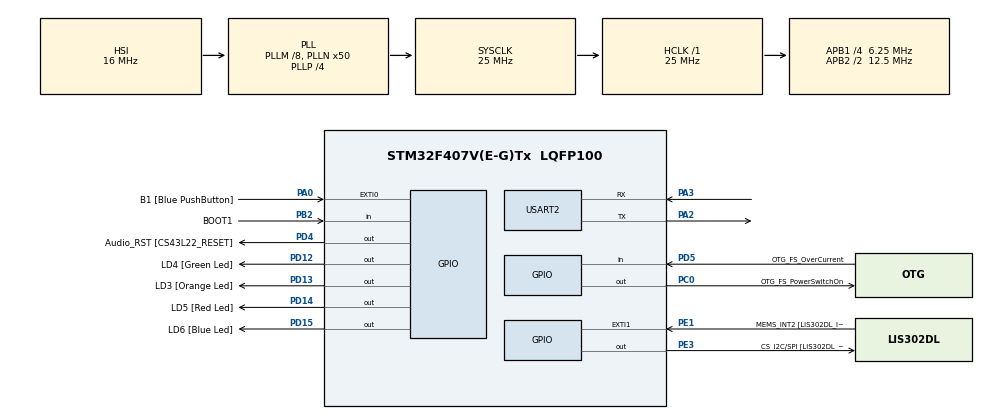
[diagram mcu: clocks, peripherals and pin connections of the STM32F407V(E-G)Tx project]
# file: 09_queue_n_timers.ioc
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Mcu.Family=STM32F4
Mcu.Name=STM32F407V(E-G)Tx
Mcu.Package=LQFP100
NVIC.PriorityGroup=NVIC_PRIORITYGROUP_4
NVIC.TIM6_DAC_IRQn=true\:0\:0\:false\:false\:true\:false\:true\:true
NVIC.TimeBase=TIM6_DAC_IRQn
NVIC.TimeBaseIP=TIM6
NVIC.USART2_IRQn=true\:6\:0\:true\:false\:true\:true\:true\:true
PA0-WKUP.GPIO_Label=B1 [Blue PushButton]
PA0-WKUP.Signal=GPXTI0
PA10.GPIO_Label=OTG_FS_ID
PA10.GPIO_Mode=GPIO_MODE_AF_PP
PA10.GPIO_PuPd=GPIO_NOPULL
PA10.GPIO_Speed=GPIO_SPEED_FREQ_LOW
PA10.Signal=USB_OTG_FS_ID
PA11.GPIO_Label=OTG_FS_DM
PA11.GPIO_Mode=GPIO_MODE_AF_PP
PA11.GPIO_PuPd=GPIO_NOPULL
PA11.GPIO_Speed=GPIO_SPEED_FREQ_LOW
PA11.Signal=USB_OTG_FS_DM
PA12.GPIO_Label=OTG_FS_DP
PA12.GPIO_Mode=GPIO_MODE_AF_PP
PA12.GPIO_PuPd=GPIO_NOPULL
PA12.GPIO_Speed=GPIO_SPEED_FREQ_LOW
PA12.Signal=USB_OTG_FS_DP
PA13.GPIO_Label=SWDIO
PA13.Signal=SYS_JTMS-SWDIO
PA14.GPIO_Label=SWCLK
PA14.Signal=SYS_JTCK-SWCLK
PA2.Mode=Asynchronous
PA2.Signal=USART2_TX
PA3.Mode=Asynchronous
PA3.Signal=USART2_RX
PA4.GPIO_Label=I2S3_WS [CS43L22_LRCK]
PA4.GPIO_Mode=GPIO_MODE_AF_PP
PA4.GPIO_PuPd=GPIO_NOPULL
PA4.GPIO_Speed=GPIO_SPEED_FREQ_LOW
PA4.Signal=I2S3_WS
PA5.GPIO_Label=SPI1_SCK [LIS302DL_SCL/SPC]
PA5.GPIO_Mode=GPIO_MODE_AF_PP
PA5.GPIO_PuPd=GPIO_NOPULL
PA5.GPIO_Speed=GPIO_SPEED_FREQ_LOW
PA5.Signal=SPI1_SCK
PA6.GPIO_Label=SPI1_MISO [LIS302DL_SDO]
PA6.GPIO_Mode=GPIO_MODE_AF_PP
PA6.GPIO_PuPd=GPIO_NOPULL
PA6.GPIO_Speed=GPIO_SPEED_FREQ_LOW
PA6.Signal=SPI1_MISO
PA7.GPIO_Label=SPI1_MOSI [LIS302DL_SDA/SDI/SDO]
PA7.GPIO_Mode=GPIO_MODE_AF_PP
PA7.GPIO_PuPd=GPIO_NOPULL
PA7.GPIO_Speed=GPIO_SPEED_FREQ_LOW
PA7.Signal=SPI1_MOSI
PA9.GPIO_Label=VBUS_FS
PA9.GPIO_Mode=GPIO_MODE_INPUT
PA9.GPIO_PuPd=GPIO_NOPULL
PA9.Signal=USB_OTG_FS_VBUS
PB10.GPIO_Label=CLK_IN [MP45DT02_CLK]
PB10.GPIO_Mode=GPIO_MODE_AF_PP
PB10.GPIO_PuPd=GPIO_NOPULL
PB10.GPIO_Speed=GPIO_SPEED_FREQ_LOW
PB10.Signal=I2S2_CK
PB2.GPIO_Label=BOOT1
PB2.GPIO_Mode=GPIO_MODE_INPUT
PB2.GPIO_PuPd=GPIO_NOPULL
PB2.Signal=GPIO_Input
PB3.GPIO_Label=SWO
PB3.Signal=SYS_JTDO-SWO
PB6.GPIO_Label=Audio_SCL [CS43L22_SCL]
PB6.GPIO_Mode=GPIO_MODE_AF_OD
PB6.GPIO_PuPd=GPIO_NOPULL
PB6.GPIO_Speed=GPIO_SPEED_FREQ_LOW
PB6.Signal=I2C1_SCL
PB9.GPIO_Label=Audio_SDA [CS43L22_SDA]
PB9.GPIO_Mode=GPIO_MODE_AF_OD
PB9.GPIO_PuPd=GPIO_NOPULL
PB9.GPIO_Speed=GPIO_SPEED_FREQ_LOW
PB9.Signal=I2C1_SDA
PC0.GPIO_Label=OTG_FS_PowerSwitchOn
PC0.GPIO_PuPd=GPIO_NOPULL
PC0.GPIO_Speed=GPIO_SPEED_FREQ_LOW
PC0.PinState=GPIO_PIN_SET
PC0.Signal=GPIO_Output
PC10.GPIO_Label=I2S3_SCK [CS43L22_SCLK]
PC10.GPIO_Mode=GPIO_MODE_AF_PP
PC10.GPIO_PuPd=GPIO_NOPULL
PC10.GPIO_Speed=GPIO_SPEED_FREQ_LOW
PC10.Signal=I2S3_CK
PC12.GPIO_Label=I2S3_SD [CS43L22_SDIN]
PC12.GPIO_Mode=GPIO_MODE_AF_PP
PC12.GPIO_PuPd=GPIO_NOPULL
PC12.GPIO_Speed=GPIO_SPEED_FREQ_LOW
PC12.Signal=I2S3_SD
PC14-OSC32_IN.GPIO_Label=PC14-OSC32_IN
PC14-OSC32_IN.Signal=RCC_OSC32_IN
PC15-OSC32_OUT.GPIO_Label=PC15-OSC32_OUT
PC15-OSC32_OUT.Signal=RCC_OSC32_OUT
PC3.GPIO_Label=PDM_OUT [MP45DT02_DOUT]
PC3.GPIO_Mode=GPIO_MODE_AF_PP
PC3.GPIO_PuPd=GPIO_NOPULL
PC3.GPIO_Speed=GPIO_SPEED_FREQ_LOW
PC3.Signal=I2S2_SD
PC7.GPIO_Label=I2S3_MCK [CS43L22_MCLK]
PC7.GPIO_Mode=GPIO_MODE_AF_PP
PC7.GPIO_PuPd=GPIO_NOPULL
PC7.GPIO_Speed=GPIO_SPEED_FREQ_LOW
PC7.Signal=I2S3_MCK
PD12.GPIO_Label=LD4 [Green Led]
PD12.GPIO_PuPd=GPIO_NOPULL
PD12.GPIO_Speed=GPIO_SPEED_FREQ_LOW
PD12.Signal=GPIO_Output
PD13.GPIO_Label=LD3 [Orange Led]
PD13.GPIO_PuPd=GPIO_NOPULL
PD13.GPIO_Speed=GPIO_SPEED_FREQ_LOW
PD13.Signal=GPIO_Output
PD14.GPIO_Label=LD5 [Red Led]
PD14.GPIO_PuPd=GPIO_NOPULL
PD14.GPIO_Speed=GPIO_SPEED_FREQ_LOW
PD14.Signal=GPIO_Output
PD15.GPIO_Label=LD6 [Blue Led]
PD15.GPIO_PuPd=GPIO_NOPULL
PD15.GPIO_Speed=GPIO_SPEED_FREQ_LOW
PD15.Signal=GPIO_Output
PD4.GPIO_Label=Audio_RST [CS43L22_RESET]
PD4.GPIO_PuPd=GPIO_NOPULL
PD4.GPIO_Speed=GPIO_SPEED_FREQ_LOW
PD4.Signal=GPIO_Output
PD5.GPIO_Label=OTG_FS_OverCurrent
PD5.GPIO_Mode=GPIO_MODE_INPUT
PD5.GPIO_PuPd=GPIO_NOPULL
PD5.Signal=GPIO_Input
PE1.GPIO_Label=MEMS_INT2 [LIS302DL_INT2]
PE1.GPIO_ModeDefaultEXTI=GPIO_MODE_EVT_RISING
PE1.GPIO_PuPd=GPIO_NOPULL
PE1.Signal=GPXTI1
PE3.GPIO_Label=CS_I2C/SPI [LIS302DL_CS_I2C/SPI]
PE3.GPIO_PuPd=GPIO_NOPULL
PE3.GPIO_Speed=GPIO_SPEED_FREQ_LOW
PE3.Signal=GPIO_Output
PH0-OSC_IN.GPIO_Label=PH0-OSC_IN
PH0-OSC_IN.Signal=RCC_OSC_IN
PH1-OSC_OUT.GPIO_Label=PH1-OSC_OUT
PH1-OSC_OUT.Signal=RCC_OSC_OUT
ProjectManager.HeapSize=0x200
ProjectManager.StackSize=0x400
ProjectManager.TargetToolchain=STM32CubeIDE
RCC.48MHZClocksFreq_Value=14285714.285714285
RCC.AHBFreq_Value=25000000
RCC.APB1CLKDivider=RCC_HCLK_DIV4
RCC.APB1Freq_Value=6250000
RCC.APB1TimFreq_Value=12500000
RCC.APB2CLKDivider=RCC_HCLK_DIV2
RCC.APB2Freq_Value=12500000
RCC.APB2TimFreq_Value=25000000
RCC.CortexFreq_Value=25000000
RCC.HCLKFreq_Value=25000000
RCC.HSE_VALUE=8000000
RCC.HSI_VALUE=16000000
RCC.LSE_VALUE=32768
RCC.PLLM=8
RCC.PLLN=50
RCC.PLLP=RCC_PLLP_DIV4
RCC.PLLQ=7
RCC.SYSCLKFreq_VALUE=25000000
RCC.SYSCLKSource=RCC_SYSCLKSOURCE_PLLCLK
RCC.VCOOutputFreq_Value=100000000
RTC.HourFormat=RTC_HOURFORMAT_12
USART2.VirtualMode=VM_ASYNC
VP_RTC_VS_RTC_Activate.Mode=RTC_Enabled
VP_SYS_VS_tim6.Mode=TIM6
board=STM32F407G-DISC1

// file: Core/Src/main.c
/* USER CODE BEGIN Header */
/**
  ******************************************************************************
  * @file           : main.c
  * @brief          : Main program body
  ******************************************************************************
  * @attention
  *
  * Copyright (c) 2024 STMicroelectronics.
  * All rights reserved.
  *
  * This software is licensed under terms that can be found in the LICENSE file
  * in the root directory of this software component.
  * If no LICENSE file comes with this software, it is provided AS-IS.
  *
  ******************************************************************************
  */
/* USER CODE END Header */
#include "main.h"

RTC_HandleTypeDef hrtc;

UART_HandleTypeDef huart2;

/* USER CODE BEGIN PV */
xTaskHandle handle_cmd_task;
xTaskHandle handle_menu_task;
xTaskHandle handle_print_task;
xTaskHandle handle_led_task;
xTaskHandle handle_rtc_task;

QueueHandle_t q_data;
QueueHandle_t q_print;

// Software timer handle
TimerHandle_t handle_led_timer[4];
TimerHandle_t rtc_timer;

volatile uint8_t user_data;

state_t curr_state = sMainMenu;
/* USER CODE END PV */

void SystemClock_Config(void);
static void MX_GPIO_Init(void);
static void MX_RTC_Init(void);
static void MX_USART2_UART_Init(void);
/* USER CODE BEGIN PFP */

void led_effect_callback(TimerHandle_t xTimer);
void rtc_report_callback(TimerHandle_t xTimer);

/* USER CODE END PFP */

int main(void)
{
  /* USER CODE BEGIN 1 */
  BaseType_t status;
  /* USER CODE END 1 */

  /* MCU Configuration--------------------------------------------------------*/

  /* Reset of all peripherals, Initializes the Flash interface and the Systick. */
  HAL_Init();

  /* Configure the system clock */
  SystemClock_Config();

  /* Initialize all configured peripherals */
  MX_GPIO_Init();
  MX_RTC_Init();
  MX_USART2_UART_Init();
  /* USER CODE BEGIN 2 */

  status = xTaskCreate(menu_task_handler, "menu_task", 250, NULL, 2, &handle_menu_task);
  configASSERT(status == pdPASS);

  status = xTaskCreate(cmd_task_handler, "cmd_task", 250, NULL, 2, &handle_cmd_task);
  configASSERT(status==pdPASS);

  status = xTaskCreate(print_task_handler, "print_task", 250, NULL, 2, &handle_print_task);
  configASSERT(status==pdPASS);

  status = xTaskCreate(led_task_handler, "led_task", 250, NULL, 2, &handle_led_task);
  configASSERT(status==pdPASS);

  status = xTaskCreate(rtc_task_handler, "rtc_task", 250, NULL, 2, &handle_rtc_task);
  configASSERT(status==pdPASS);

  q_data = xQueueCreate(10, sizeof(char));
  configASSERT(q_data != NULL);

  q_print = xQueueCreate(10, sizeof(size_t));
  configASSERT(q_print != NULL);

  // create software timers for LED effects
  for (int i=0; i<4; i++)
	handle_led_timer[i] = xTimerCreate("led_timer", pdMS_TO_TICKS(500), pdTRUE, (void*)(i+1), led_effect_callback);

  HAL_UART_Receive_IT(&huart2, (uint8_t*)&user_data, 1);

  vTaskStartScheduler();

  /* USER CODE END 2 */

  /* Infinite loop */
  while (1)
  {

  }
}

void SystemClock_Config(void)
{
  RCC_OscInitTypeDef RCC_OscInitStruct = {0};
  RCC_ClkInitTypeDef RCC_ClkInitStruct = {0};

  /** Configure the main internal regulator output voltage
  */
  __HAL_RCC_PWR_CLK_ENABLE();
  __HAL_PWR_VOLTAGESCALING_CONFIG(PWR_REGULATOR_VOLTAGE_SCALE1);

  /** Initializes the RCC Oscillators according to the specified parameters
  * in the RCC_OscInitTypeDef structure.
  */
  RCC_OscInitStruct.OscillatorType = RCC_OSCILLATORTYPE_HSI|RCC_OSCILLATORTYPE_LSI;
  RCC_OscInitStruct.HSIState = RCC_HSI_ON;
  RCC_OscInitStruct.HSICalibrationValue = RCC_HSICALIBRATION_DEFAULT;
  RCC_OscInitStruct.LSIState = RCC_LSI_ON;
  RCC_OscInitStruct.PLL.PLLState = RCC_PLL_ON;
  RCC_OscInitStruct.PLL.PLLSource = RCC_PLLSOURCE_HSI;
  RCC_OscInitStruct.PLL.PLLM = 8;
  RCC_OscInitStruct.PLL.PLLN = 50;
  RCC_OscInitStruct.PLL.PLLP = RCC_PLLP_DIV4;
  RCC_OscInitStruct.PLL.PLLQ = 7;
  if (HAL_RCC_OscConfig(&RCC_OscInitStruct) != HAL_OK)
  {
    Error_Handler();
  }

  /** Initializes the CPU, AHB and APB buses clocks
  */
  RCC_ClkInitStruct.ClockType = RCC_CLOCKTYPE_HCLK|RCC_CLOCKTYPE_SYSCLK
                              |RCC_CLOCKTYPE_PCLK1|RCC_CLOCKTYPE_PCLK2;
  RCC_ClkInitStruct.SYSCLKSource = RCC_SYSCLKSOURCE_PLLCLK;
  RCC_ClkInitStruct.AHBCLKDivider = RCC_SYSCLK_DIV1;
  RCC_ClkInitStruct.APB1CLKDivider = RCC_HCLK_DIV4;
  RCC_ClkInitStruct.APB2CLKDivider = RCC_HCLK_DIV2;

  if (HAL_RCC_ClockConfig(&RCC_ClkInitStruct, FLASH_LATENCY_0) != HAL_OK)
  {
    Error_Handler();
  }
}

static void MX_RTC_Init(void)
{

  /** Initialize RTC Only
  */
  hrtc.Instance = RTC;
  hrtc.Init.HourFormat = RTC_HOURFORMAT_12;
  hrtc.Init.AsynchPrediv = 127;
  hrtc.Init.SynchPrediv = 255;
  hrtc.Init.OutPut = RTC_OUTPUT_DISABLE;
  hrtc.Init.OutPutPolarity = RTC_OUTPUT_POLARITY_HIGH;
  hrtc.Init.OutPutType = RTC_OUTPUT_TYPE_OPENDRAIN;
  if (HAL_RTC_Init(&hrtc) != HAL_OK)
  {
    Error_Handler();
  }

}

static void MX_USART2_UART_Init(void)
{

  huart2.Instance = USART2;
  huart2.Init.BaudRate = 115200;
  huart2.Init.WordLength = UART_WORDLENGTH_8B;
  huart2.Init.StopBits = UART_STOPBITS_1;
  huart2.Init.Parity = UART_PARITY_NONE;
  huart2.Init.Mode = UART_MODE_TX_RX;
  huart2.Init.HwFlowCtl = UART_HWCONTROL_NONE;
  huart2.Init.OverSampling = UART_OVERSAMPLING_16;
  if (HAL_UART_Init(&huart2) != HAL_OK)
  {
    Error_Handler();
  }

}

static void MX_GPIO_Init(void)
{
  GPIO_InitTypeDef GPIO_InitStruct = {0};

  /* GPIO Ports Clock Enable */
  __HAL_RCC_GPIOE_CLK_ENABLE();
  __HAL_RCC_GPIOC_CLK_ENABLE();
  __HAL_RCC_GPIOH_CLK_ENABLE();
  __HAL_RCC_GPIOA_CLK_ENABLE();
  __HAL_RCC_GPIOB_CLK_ENABLE();
  __HAL_RCC_GPIOD_CLK_ENABLE();

  /*Configure GPIO pin Output Level */
  HAL_GPIO_WritePin(CS_I2C_SPI_GPIO_Port, CS_I2C_SPI_Pin, GPIO_PIN_RESET);

  /*Configure GPIO pin Output Level */
  HAL_GPIO_WritePin(OTG_FS_PowerSwitchOn_GPIO_Port, OTG_FS_PowerSwitchOn_Pin, GPIO_PIN_SET);

  /*Configure GPIO pin Output Level */
  HAL_GPIO_WritePin(GPIOD, LD4_Pin|LD3_Pin|LD5_Pin|LD6_Pin
                          |Audio_RST_Pin, GPIO_PIN_RESET);

  /*Configure GPIO pin : CS_I2C_SPI_Pin */
  GPIO_InitStruct.Pin = CS_I2C_SPI_Pin;
  GPIO_InitStruct.Mode = GPIO_MODE_OUTPUT_PP;
  GPIO_InitStruct.Pull = GPIO_NOPULL;
  GPIO_InitStruct.Speed = GPIO_SPEED_FREQ_LOW;
  HAL_GPIO_Init(CS_I2C_SPI_GPIO_Port, &GPIO_InitStruct);

  /*Configure GPIO pin : OTG_FS_PowerSwitchOn_Pin */
  GPIO_InitStruct.Pin = OTG_FS_PowerSwitchOn_Pin;
  GPIO_InitStruct.Mode = GPIO_MODE_OUTPUT_PP;
  GPIO_InitStruct.Pull = GPIO_NOPULL;
  GPIO_InitStruct.Speed = GPIO_SPEED_FREQ_LOW;
  HAL_GPIO_Init(OTG_FS_PowerSwitchOn_GPIO_Port, &GPIO_InitStruct);

  /*Configure GPIO pin : PDM_OUT_Pin */
  GPIO_InitStruct.Pin = PDM_OUT_Pin;
  GPIO_InitStruct.Mode = GPIO_MODE_AF_PP;
  GPIO_InitStruct.Pull = GPIO_NOPULL;
  GPIO_InitStruct.Speed = GPIO_SPEED_FREQ_LOW;
  GPIO_InitStruct.Alternate = GPIO_AF5_SPI2;
  HAL_GPIO_Init(PDM_OUT_GPIO_Port, &GPIO_InitStruct);

  /*Configure GPIO pin : B1_Pin */
  GPIO_InitStruct.Pin = B1_Pin;
  GPIO_InitStruct.Mode = GPIO_MODE_IT_RISING;
  GPIO_InitStruct.Pull = GPIO_NOPULL;
  HAL_GPIO_Init(B1_GPIO_Port, &GPIO_InitStruct);

  /*Configure GPIO pin : I2S3_WS_Pin */
  GPIO_InitStruct.Pin = I2S3_WS_Pin;
  GPIO_InitStruct.Mode = GPIO_MODE_AF_PP;
  GPIO_InitStruct.Pull = GPIO_NOPULL;
  GPIO_InitStruct.Speed = GPIO_SPEED_FREQ_LOW;
  GPIO_InitStruct.Alternate = GPIO_AF6_SPI3;
  HAL_GPIO_Init(I2S3_WS_GPIO_Port, &GPIO_InitStruct);

  /*Configure GPIO pins : SPI1_SCK_Pin SPI1_MISO_Pin SPI1_MOSI_Pin */
  GPIO_InitStruct.Pin = SPI1_SCK_Pin|SPI1_MISO_Pin|SPI1_MOSI_Pin;
  GPIO_InitStruct.Mode = GPIO_MODE_AF_PP;
  GPIO_InitStruct.Pull = GPIO_NOPULL;
  GPIO_InitStruct.Speed = GPIO_SPEED_FREQ_LOW;
  GPIO_InitStruct.Alternate = GPIO_AF5_SPI1;
  HAL_GPIO_Init(GPIOA, &GPIO_InitStruct);

  /*Configure GPIO pin : BOOT1_Pin */
  GPIO_InitStruct.Pin = BOOT1_Pin;
  GPIO_InitStruct.Mode = GPIO_MODE_INPUT;
  GPIO_InitStruct.Pull = GPIO_NOPULL;
  HAL_GPIO_Init(BOOT1_GPIO_Port, &GPIO_InitStruct);

  /*Configure GPIO pin : CLK_IN_Pin */
  GPIO_InitStruct.Pin = CLK_IN_Pin;
  GPIO_InitStruct.Mode = GPIO_MODE_AF_PP;
  GPIO_InitStruct.Pull = GPIO_NOPULL;
  GPIO_InitStruct.Speed = GPIO_SPEED_FREQ_LOW;
  GPIO_InitStruct.Alternate = GPIO_AF5_SPI2;
  HAL_GPIO_Init(CLK_IN_GPIO_Port, &GPIO_InitStruct);

  /*Configure GPIO pins : LD4_Pin LD3_Pin LD5_Pin LD6_Pin
                           Audio_RST_Pin */
  GPIO_InitStruct.Pin = LD4_Pin|LD3_Pin|LD5_Pin|LD6_Pin
                          |Audio_RST_Pin;
  GPIO_InitStruct.Mode = GPIO_MODE_OUTPUT_PP;
  GPIO_InitStruct.Pull = GPIO_NOPULL;
  GPIO_InitStruct.Speed = GPIO_SPEED_FREQ_LOW;
  HAL_GPIO_Init(GPIOD, &GPIO_InitStruct);

  /*Configure GPIO pins : I2S3_MCK_Pin I2S3_SCK_Pin I2S3_SD_Pin */
  GPIO_InitStruct.Pin = I2S3_MCK_Pin|I2S3_SCK_Pin|I2S3_SD_Pin;
  GPIO_InitStruct.Mode = GPIO_MODE_AF_PP;
  GPIO_InitStruct.Pull = GPIO_NOPULL;
  GPIO_InitStruct.Speed = GPIO_SPEED_FREQ_LOW;
  GPIO_InitStruct.Alternate = GPIO_AF6_SPI3;
  HAL_GPIO_Init(GPIOC, &GPIO_InitStruct);

  /*Configure GPIO pin : VBUS_FS_Pin */
  GPIO_InitStruct.Pin = VBUS_FS_Pin;
  GPIO_InitStruct.Mode = GPIO_MODE_INPUT;
  GPIO_InitStruct.Pull = GPIO_NOPULL;
  HAL_GPIO_Init(VBUS_FS_GPIO_Port, &GPIO_InitStruct);

  /*Configure GPIO pins : OTG_FS_ID_Pin OTG_FS_DM_Pin OTG_FS_DP_Pin */
  GPIO_InitStruct.Pin = OTG_FS_ID_Pin|OTG_FS_DM_Pin|OTG_FS_DP_Pin;
  GPIO_InitStruct.Mode = GPIO_MODE_AF_PP;
  GPIO_InitStruct.Pull = GPIO_NOPULL;
  GPIO_InitStruct.Speed = GPIO_SPEED_FREQ_LOW;
  GPIO_InitStruct.Alternate = GPIO_AF10_OTG_FS;
  HAL_GPIO_Init(GPIOA, &GPIO_InitStruct);

  /*Configure GPIO pin : OTG_FS_OverCurrent_Pin */
  GPIO_InitStruct.Pin = OTG_FS_OverCurrent_Pin;
  GPIO_InitStruct.Mode = GPIO_MODE_INPUT;
  GPIO_InitStruct.Pull = GPIO_NOPULL;
  HAL_GPIO_Init(OTG_FS_OverCurrent_GPIO_Port, &GPIO_InitStruct);

  /*Configure GPIO pins : Audio_SCL_Pin Audio_SDA_Pin */
  GPIO_InitStruct.Pin = Audio_SCL_Pin|Audio_SDA_Pin;
  GPIO_InitStruct.Mode = GPIO_MODE_AF_OD;
  GPIO_InitStruct.Pull = GPIO_NOPULL;
  GPIO_InitStruct.Speed = GPIO_SPEED_FREQ_LOW;
  GPIO_InitStruct.Alternate = GPIO_AF4_I2C1;
  HAL_GPIO_Init(GPIOB, &GPIO_InitStruct);

  /*Configure GPIO pin : MEMS_INT2_Pin */
  GPIO_InitStruct.Pin = MEMS_INT2_Pin;
  GPIO_InitStruct.Mode = GPIO_MODE_EVT_RISING;
  GPIO_InitStruct.Pull = GPIO_NOPULL;
  HAL_GPIO_Init(MEMS_INT2_GPIO_Port, &GPIO_InitStruct);

}

/* USER CODE BEGIN 4 */
void rtc_report_callback(TimerHandle_t xTimer)
{
  show_time_date_itm();
}

void led_effect_callback(TimerHandle_t xTimer)
{
  int id;
  id  = (uint32_t)pvTimerGetTimerID(xTimer);
  switch (id)
  {
  case 1:
	LED_effect1();
	break;
  case 2:
	LED_effect2();
	break;
  case 3:
	LED_effect3();
	break;
  case 4:
	LED_effect4();
  }
}

void HAL_UART_RxCpltCallback(UART_HandleTypeDef* huart)
{
  uint8_t dummy;

  for (uint32_t i=0; i<4000; i++);

  if (! xQueueIsQueueFullFromISR(q_data))
  {
	/* Queue is not full, Enqueue the data byte */
	xQueueSendFromISR(q_data, (void*)&user_data, NULL);
//	xQueueSendToBackFromISR(q_data, (void*)&user_data, NULL);
//	HAL_UART_Receive_IT(&huart2, (uint8_t*)&user_data, 1);
  }
  else
  {
	/* Queue is full */
	if ( user_data == '\n')
	{
	  /* make that last data byte of queue is '\n' */
	  xQueueReceiveFromISR(q_data, (void*)&dummy, NULL); // delete the last data byte by reading
	  xQueueSendFromISR(q_data, (void*)&user_data, NULL);    // and insert
	}
  }

  /* send notification to command handling task if user_data = '\n' */
  if (user_data == '\n')
  {
	xTaskNotifyFromISR(handle_cmd_task, 0, eNoAction, NULL);
  }

  /* Enable UART data byte reception again in IT mode */
  HAL_UART_Receive_IT(&huart2, (uint8_t*)&user_data, 1);
}
/* USER CODE END 4 */

void HAL_TIM_PeriodElapsedCallback(TIM_HandleTypeDef *htim)
{
  if (htim->Instance == TIM6) {
    HAL_IncTick();
  }
}

void Error_Handler(void)
{
  __disable_irq();
  while (1)
  {
  }
}
